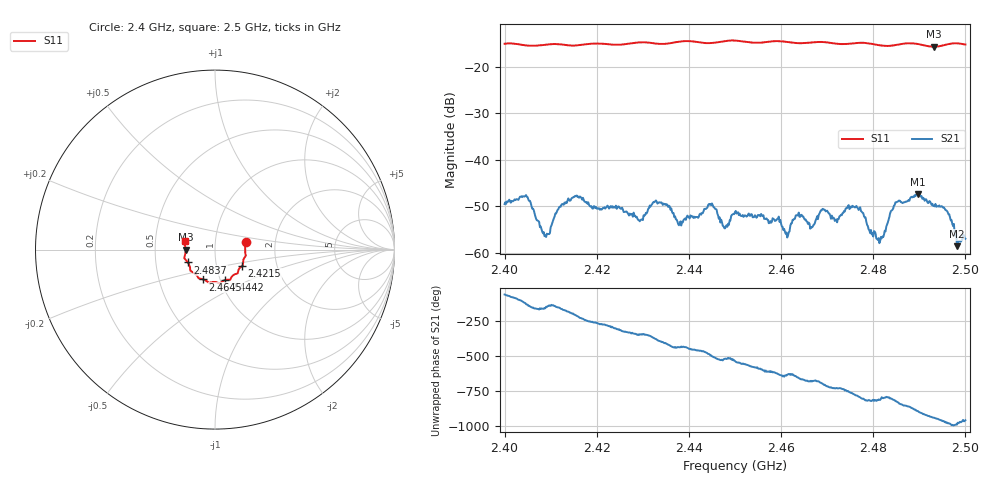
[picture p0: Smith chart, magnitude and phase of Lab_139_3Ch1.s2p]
# Hz S RI R 50
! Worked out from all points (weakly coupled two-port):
!   601 points, 2.4 GHz to 2.5 GHz, reference 50 ohm
!   highest |S21| = -47.45 dB at 2.4897 GHz (marker M1); lowest = -58.6 dB at 2.4982 GHz (marker M2)
!   lowest |S11| = -15.7 dB at 2.4932 GHz (marker M3), VSWR 1.39, Z = 35.9 - j0.0543 ohm
!   |S11| at or under -10 dB: start of sweep to end of sweep
!   S12 and S22 are empty: the file has one direction only
!   S11 on the Smith chart (normalised r, x): 2.4 GHz: 1.41, +0.12; 2.4215 GHz: 1.33, -0.25; 2.4442 GHz: 1.05, -0.37; 2.4645 GHz: 0.83, -0.29; 2.4837 GHz: 0.73, -0.11; 2.5 GHz: 0.71, +0.07
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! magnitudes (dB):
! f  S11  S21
! 2.4 GHz  -15.1  -49.5
! 2.4047 GHz  -15.4  -47.6
! 2.4092 GHz  -15.3  -55.9
! 2.4167 GHz  -15.3  -48.2
! 2.4215 GHz  -15.1  -50.4
! 2.4295 GHz  -14.8  -53.0
! 2.4333 GHz  -15.1  -49.3
! 2.4382 GHz  -14.6  -53.2
! 2.4442 GHz  -15.0  -49.8
! 2.4478 GHz  -14.5  -54.8
! 2.45 GHz  -14.4  -51.3
! 2.4613 GHz  -14.7  -56.7
! 2.4645 GHz  -15.0  -51.9
! 2.4667 GHz  -14.8  -54.6
! 2.476 GHz  -15.0  -50.3
! 2.4813 GHz  -15.4  -57.9
! 2.4833 GHz  -15.6  -52.9
! 2.4837 GHz  -15.5  -51.5
! 2.4897 GHz  -15.1  -47.5
! 2.4932 GHz  -15.7  -49.9
! 2.4982 GHz  -15.0  -58.6
! 2.5 GHz  -15.3  -57.0
